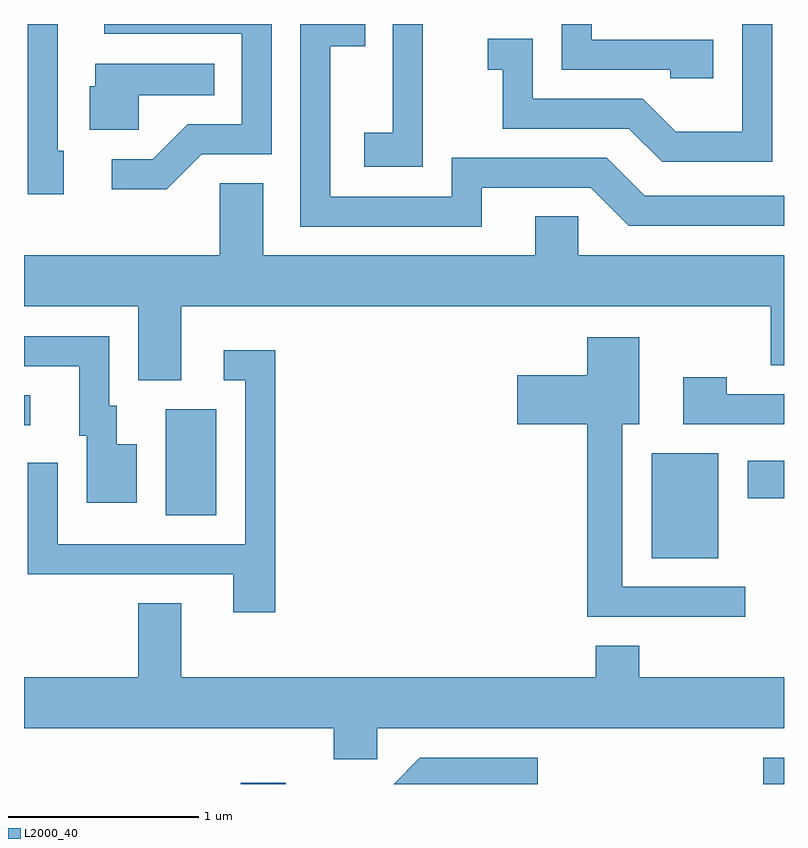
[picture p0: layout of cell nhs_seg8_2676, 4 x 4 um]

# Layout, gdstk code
import gdstk
lib = gdstk.Library(unit=1e-6, precision=1e-09)
def R(c, l, rs):  # rectangles x0, y0, x1, y1
    for r in rs: c.add(gdstk.rectangle(r[:2], r[2:], *l))
def P(c, l, *ps):  # polygons
    for p in ps: c.add(gdstk.Polygon(p, *l))
L2000_40 = (2000, 40)

nhs_seg8_2676 = lib.new_cell('nhs_seg8_2676')
R(nhs_seg8_2676, L2000_40, [(266.751,1838.342,266.988,1838.349), (269.503,1838.342,269.611,1838.479), (268.916,1839.531,269.264,1840.084), (266.356,1839.756,266.624,1840.314), (269.421,1839.846,269.611,1840.044), (265.611,1840.231,265.643,1840.389)])
P(nhs_seg8_2676, L2000_40, [(269.239,1842.259),(268.599,1842.259),(268.599,1842.342),(268.441,1842.342),(268.441,1842.101),(269.011,1842.101),(269.011,1842.056),(269.239,1842.056)],
  [(267.709,1842.342),(267.551,1842.342),(267.551,1841.769),(267.401,1841.769),(267.401,1841.591),(267.709,1841.591)],
  [(265.819,1841.674),(265.789,1841.674),(265.789,1842.342),(265.631,1842.342),(265.631,1841.446),(265.819,1841.446)],
  [(268.019,1841.481),(268.594,1841.481),(268.794,1841.281),(269.611,1841.281),(269.611,1841.439),(268.877,1841.439),(268.677,1841.639),(267.861,1841.639),(267.861,1841.434),(267.224,1841.434),(267.224,1842.226),(267.408,1842.226),(267.408,1842.342),(267.066,1842.342),(267.066,1841.276),(268.019,1841.276)],
  [(266.547,1841.656),(266.914,1841.656),(266.914,1842.342),(266.033,1842.342),(266.033,1842.291),(266.756,1842.291),(266.756,1841.814),(266.474,1841.814),(266.289,1841.629),(266.073,1841.629),(266.073,1841.471),(266.362,1841.471)],
  [(269.549,1842.342),(269.391,1842.342),(269.391,1841.774),(269.042,1841.774),(268.867,1841.949),(268.289,1841.949),(268.289,1842.264),(268.053,1842.264),(268.053,1842.101),(268.131,1842.101),(268.131,1841.791),(268.794,1841.791),(268.969,1841.616),(269.549,1841.616)],
  [(266.214,1841.966),(266.613,1841.966),(266.613,1842.134),(265.986,1842.134),(265.986,1842.014),(265.956,1842.014),(265.956,1841.786),(266.214,1841.786)],
  [(266.439,1840.856),(269.541,1840.856),(269.541,1840.546),(269.611,1840.546),(269.611,1841.124),(268.529,1841.124),(268.529,1841.329),(268.301,1841.329),(268.301,1841.124),(266.869,1841.124),(266.869,1841.504),(266.641,1841.504),(266.641,1841.124),(265.611,1841.124),(265.611,1840.856),(266.211,1840.856),(266.211,1840.466),(266.439,1840.466)],
  [(266.204,1840.129),(266.099,1840.129),(266.099,1840.334),(266.059,1840.334),(266.059,1840.699),(265.611,1840.699),(265.611,1840.541),(265.901,1840.541),(265.901,1840.176),(265.941,1840.176),(265.941,1839.821),(266.204,1839.821)],
  [(269.408,1839.379),(268.759,1839.379),(268.759,1840.236),(268.849,1840.236),(268.849,1840.694),(268.576,1840.694),(268.576,1840.494),(268.206,1840.494),(268.206,1840.236),(268.576,1840.236),(268.576,1839.221),(269.408,1839.221)],
  [(266.934,1840.624),(266.663,1840.624),(266.663,1840.466),(266.776,1840.466),(266.776,1839.604),(265.789,1839.604),(265.789,1840.033),(265.631,1840.033),(265.631,1839.446),(266.711,1839.446),(266.711,1839.246),(266.934,1839.246)],
  [(269.611,1840.394),(269.309,1840.394),(269.309,1840.484),(269.081,1840.484),(269.081,1840.236),(269.611,1840.236)],
  [(267.469,1838.636),(269.611,1838.636),(269.611,1838.904),(268.849,1838.904),(268.849,1839.069),(268.621,1839.069),(268.621,1838.904),(266.439,1838.904),(266.439,1839.294),(266.211,1839.294),(266.211,1838.904),(265.611,1838.904),(265.611,1838.636),(267.241,1838.636),(267.241,1838.471),(267.469,1838.471)],
  [(268.314,1838.479),(267.694,1838.479),(267.557,1838.342),(268.314,1838.342)])

lib.write_gds('nhs_seg8_2676.gds')
